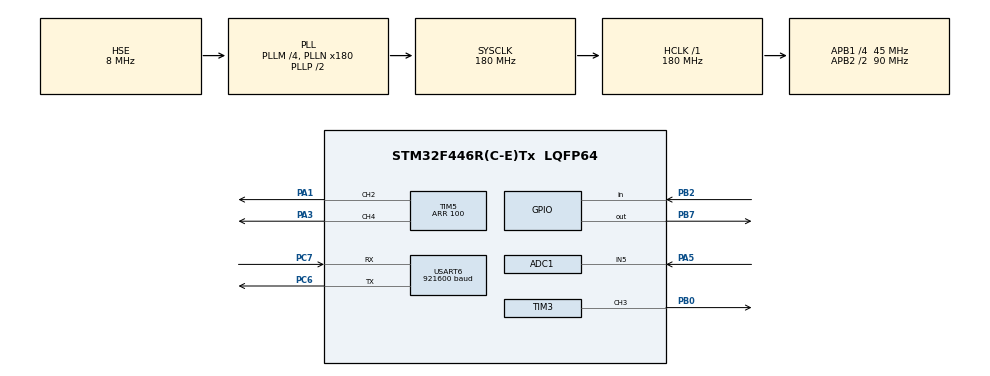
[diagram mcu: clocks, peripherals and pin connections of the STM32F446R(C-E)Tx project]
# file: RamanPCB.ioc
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ADC1.Channel-0\#ChannelRegularConversion=ADC_CHANNEL_5
ADC1.ClockPrescaler=ADC_CLOCK_SYNC_PCLK_DIV4
ADC1.DMAContinuousRequests=ENABLE
ADC1.ExternalTrigConv=ADC_EXTERNALTRIGCONV_T1_CC1
ADC1.NbrOfConversionFlag=1
ADC1.Rank-0\#ChannelRegularConversion=1
ADC1.SamplingTime-0\#ChannelRegularConversion=ADC_SAMPLETIME_28CYCLES
ADC1.master=1
Dma.ADC1.0.Direction=DMA_PERIPH_TO_MEMORY
Dma.ADC1.0.FIFOMode=DMA_FIFOMODE_DISABLE
Dma.ADC1.0.Instance=DMA2_Stream0
Dma.ADC1.0.MemDataAlignment=DMA_MDATAALIGN_HALFWORD
Dma.ADC1.0.MemInc=DMA_MINC_ENABLE
Dma.ADC1.0.Mode=DMA_NORMAL
Dma.ADC1.0.PeriphDataAlignment=DMA_PDATAALIGN_HALFWORD
Dma.ADC1.0.PeriphInc=DMA_PINC_DISABLE
Dma.ADC1.0.Priority=DMA_PRIORITY_LOW
Dma.Request0=ADC1
Dma.Request1=TIM5_CH2
Dma.Request2=USART6_RX
Dma.Request3=USART6_TX
Dma.TIM5_CH2.1.Direction=DMA_MEMORY_TO_PERIPH
Dma.TIM5_CH2.1.FIFOMode=DMA_FIFOMODE_DISABLE
Dma.TIM5_CH2.1.Instance=DMA1_Stream4
Dma.TIM5_CH2.1.MemDataAlignment=DMA_MDATAALIGN_WORD
Dma.TIM5_CH2.1.MemInc=DMA_MINC_ENABLE
Dma.TIM5_CH2.1.Mode=DMA_CIRCULAR
Dma.TIM5_CH2.1.PeriphDataAlignment=DMA_PDATAALIGN_WORD
Dma.TIM5_CH2.1.PeriphInc=DMA_PINC_DISABLE
Dma.TIM5_CH2.1.Priority=DMA_PRIORITY_HIGH
Dma.USART6_RX.2.Direction=DMA_PERIPH_TO_MEMORY
Dma.USART6_RX.2.FIFOMode=DMA_FIFOMODE_DISABLE
Dma.USART6_RX.2.Instance=DMA2_Stream1
Dma.USART6_RX.2.MemDataAlignment=DMA_MDATAALIGN_BYTE
Dma.USART6_RX.2.MemInc=DMA_MINC_ENABLE
Dma.USART6_RX.2.Mode=DMA_NORMAL
Dma.USART6_RX.2.PeriphDataAlignment=DMA_PDATAALIGN_BYTE
Dma.USART6_RX.2.PeriphInc=DMA_PINC_DISABLE
Dma.USART6_RX.2.Priority=DMA_PRIORITY_MEDIUM
Dma.USART6_TX.3.Direction=DMA_MEMORY_TO_PERIPH
Dma.USART6_TX.3.FIFOMode=DMA_FIFOMODE_DISABLE
Dma.USART6_TX.3.Instance=DMA2_Stream6
Dma.USART6_TX.3.MemDataAlignment=DMA_MDATAALIGN_BYTE
Dma.USART6_TX.3.MemInc=DMA_MINC_ENABLE
Dma.USART6_TX.3.Mode=DMA_NORMAL
Dma.USART6_TX.3.PeriphDataAlignment=DMA_PDATAALIGN_BYTE
Dma.USART6_TX.3.PeriphInc=DMA_PINC_DISABLE
Dma.USART6_TX.3.Priority=DMA_PRIORITY_MEDIUM
Mcu.Family=STM32F4
Mcu.Name=STM32F446R(C-E)Tx
Mcu.Package=LQFP64
NVIC.ADC_IRQn=true\:0\:0\:false\:false\:true\:true\:true\:true
NVIC.DMA1_Stream4_IRQn=true\:0\:0\:false\:false\:true\:false\:true\:true
NVIC.DMA2_Stream0_IRQn=true\:0\:0\:false\:false\:true\:false\:true\:true
NVIC.DMA2_Stream1_IRQn=true\:0\:0\:false\:false\:true\:false\:true\:true
NVIC.DMA2_Stream6_IRQn=true\:0\:0\:false\:false\:true\:false\:true\:true
NVIC.PriorityGroup=NVIC_PRIORITYGROUP_4
NVIC.TIM3_IRQn=true\:0\:0\:false\:false\:true\:true\:true\:true
NVIC.TIM5_IRQn=true\:0\:0\:false\:false\:true\:true\:true\:true
NVIC.USART6_IRQn=true\:0\:0\:false\:false\:true\:true\:true\:true
PA0-WKUP.Mode=SYS_WakeUp0
PA0-WKUP.Signal=SYS_WKUP0
PA1.Signal=S_TIM5_CH2
PA13.Mode=Serial_Wire
PA13.Signal=SYS_JTMS-SWDIO
PA14.Mode=Serial_Wire
PA14.Signal=SYS_JTCK-SWCLK
PA3.Signal=S_TIM5_CH4
PA5.Signal=ADCx_IN5
PB0.Signal=S_TIM3_CH3
PB2.Signal=GPIO_Input
PB3.Signal=SYS_JTDO-SWO
PB7.Signal=GPIO_Output
PC6.Mode=Asynchronous
PC6.Signal=USART6_TX
PC7.Mode=Asynchronous
PC7.Signal=USART6_RX
PH0-OSC_IN.Mode=HSE-External-Oscillator
PH0-OSC_IN.Signal=RCC_OSC_IN
PH1-OSC_OUT.Mode=HSE-External-Oscillator
PH1-OSC_OUT.Signal=RCC_OSC_OUT
ProjectManager.HeapSize=0x200
ProjectManager.StackSize=0x400
ProjectManager.TargetToolchain=STM32CubeIDE
RCC.AHBFreq_Value=180000000
RCC.APB1CLKDivider=RCC_HCLK_DIV4
RCC.APB1Freq_Value=45000000
RCC.APB1TimFreq_Value=90000000
RCC.APB2CLKDivider=RCC_HCLK_DIV2
RCC.APB2Freq_Value=90000000
RCC.APB2TimFreq_Value=180000000
RCC.CortexFreq_Value=180000000
RCC.HCLKFreq_Value=180000000
RCC.HSE_VALUE=8000000
RCC.PLLM=4
RCC.PLLN=180
RCC.PLLSourceVirtual=RCC_PLLSOURCE_HSE
RCC.SYSCLKFreq_VALUE=180000000
RCC.SYSCLKSource=RCC_SYSCLKSOURCE_PLLCLK
RCC.USBFreq_Value=180000000
RCC.VCOOutputFreq_Value=360000000
SH.ADCx_IN5.0=ADC1_IN5,IN5
SH.S_TIM3_CH3.0=TIM3_CH3,PWM Generation3 CH3
SH.S_TIM5_CH2.0=TIM5_CH2,Output Compare2 CH2
SH.S_TIM5_CH4.0=TIM5_CH4,PWM Generation4 CH4
TIM1.Channel-PWM\ Generation1\ No\ Output=TIM_CHANNEL_1
TIM1.Period=3
TIM1.Prescaler=89
TIM1.Pulse-PWM\ Generation1\ No\ Output=3
TIM3.Channel-PWM\ Generation3\ CH3=TIM_CHANNEL_3
TIM3.Period=44
TIM3.Pulse-PWM\ Generation3\ CH3=22
TIM3.TIM_MasterOutputTrigger=TIM_TRGO_UPDATE
TIM3.TIM_MasterSlaveMode=TIM_MASTERSLAVEMODE_ENABLE
TIM5.Channel-Output\ Compare2\ CH2=TIM_CHANNEL_2
TIM5.Channel-PWM\ Generation4\ CH4=TIM_CHANNEL_4
TIM5.OC2Preload=DISABLE
TIM5.OCMode_2=TIM_OCMODE_TOGGLE
TIM5.OCMode_PWM-PWM\ Generation4\ CH4=TIM_OCMODE_PWM2
TIM5.Period=100
TIM5.Pulse-Output\ Compare2\ CH2=2
TIM5.Pulse-PWM\ Generation4\ CH4=13
TIM5.TIM_MasterOutputTrigger=TIM_TRGO_OC4REF
TIM5.TIM_MasterSlaveMode=TIM_MASTERSLAVEMODE_ENABLE
USART6.BaudRate=921600
USART6.VirtualMode=VM_ASYNC
VP_TIM1_VS_ClockSourceITR.Mode=TriggerSource_ITR0
VP_TIM1_VS_ControllerModeTrigger.Mode=Trigger Mode
VP_TIM1_VS_no_output1.Mode=PWM Generation1 No Output
VP_TIM3_VS_ClockSourceINT.Mode=Internal
VP_TIM5_VS_ClockSourceITR.Mode=TriggerSource_ITR1
VP_TIM5_VS_ControllerModeClock.Mode=Clock Mode
board=custom

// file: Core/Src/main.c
/* USER CODE BEGIN Header */
/**
  ******************************************************************************
  * @file           : main.c
  * @brief          : Main program body
  ******************************************************************************
  * @attention
  *
  * Copyright (c) 2026 STMicroelectronics.
  * All rights reserved.
  *
  * This software is licensed under terms that can be found in the LICENSE file
  * in the root directory of this software component.
  * If no LICENSE file comes with this software, it is provided AS-IS.
  *
  ******************************************************************************
  */
/* USER CODE END Header */
#include "main.h"

/* USER CODE BEGIN Includes */
#include "tcd_signals.h"
#include "tcd_uart.h"

/* USER CODE END Includes */

ADC_HandleTypeDef hadc1;
DMA_HandleTypeDef hdma_adc1;

TIM_HandleTypeDef htim1;
TIM_HandleTypeDef htim3;
TIM_HandleTypeDef htim5;
DMA_HandleTypeDef hdma_tim5_ch2;

UART_HandleTypeDef huart6;
DMA_HandleTypeDef hdma_usart6_rx;
DMA_HandleTypeDef hdma_usart6_tx;

/* USER CODE BEGIN PV */

extern volatile uint8_t send_now;
//volatile uint8_t is_flushing = 1;
extern volatile uint8_t process_instruction_flag;

extern volatile uint16_t rx_cmd_buffer[SIZE_RX_BUFFER_CMD_BYTES/2];
extern volatile uint8_t uart_busy;

/* USER CODE END PV */

void SystemClock_Config(void);
static void MX_GPIO_Init(void);
static void MX_DMA_Init(void);
static void MX_ADC1_Init(void);
static void MX_TIM1_Init(void);
static void MX_TIM3_Init(void);
static void MX_TIM5_Init(void);
static void MX_USART6_UART_Init(void);

int main(void)
{

  /* MCU Configuration--------------------------------------------------------*/

  /* Reset of all peripherals, Initializes the Flash interface and the Systick. */
  HAL_Init();

  /* Configure the system clock */
  SystemClock_Config();

  /* Initialize all configured peripherals */
  MX_GPIO_Init();
  MX_DMA_Init();
  MX_ADC1_Init();
  MX_TIM1_Init();
  MX_TIM3_Init();
  MX_TIM5_Init();
  MX_USART6_UART_Init();
  /* USER CODE BEGIN 2 */
  //uint32_t ultimo_blink = 0;

  HAL_GPIO_WritePin(GPIOB, GPIO_PIN_7, GPIO_PIN_SET);

  calculate_times(100);
  build_SH_table();
  start_timers(1);

  //HAL_UART_Receive_DMA(&huart6, (uint8_t*) rx_cmd_buffer, SIZE_RX_BUFFER_CMD_BYTES);
  HAL_UART_Receive_IT(&huart6, (uint8_t*)rx_cmd_buffer, SIZE_RX_BUFFER_CMD_BYTES);

  //HAL_Delay(100);
  //is_flushing = 0;
  /* USER CODE END 2 */

  /* Infinite loop */
  /* USER CODE BEGIN WHILE */
  while (1)
  {
	  /*
	  if (HAL_GetTick() - ultimo_blink >= 1000) {
		  HAL_GPIO_TogglePin(GPIOB, GPIO_PIN_7);
		  ultimo_blink = HAL_GetTick();
	  }
	  */

	  if(process_instruction_flag == 1){
		  HAL_ADC_Stop_DMA(&hadc1);
		  while(uart_busy == 1){
			  HAL_Delay(100);
		  }

		  process_instruction();
	  }

	  if (send_now == 1) {
		  send_data_continuous_dma();
	  }
    /* USER CODE END WHILE */

  }
}

void SystemClock_Config(void)
{
  RCC_OscInitTypeDef RCC_OscInitStruct = {0};
  RCC_ClkInitTypeDef RCC_ClkInitStruct = {0};

  /** Configure the main internal regulator output voltage
  */
  __HAL_RCC_PWR_CLK_ENABLE();
  __HAL_PWR_VOLTAGESCALING_CONFIG(PWR_REGULATOR_VOLTAGE_SCALE1);

  /** Initializes the RCC Oscillators according to the specified parameters
  * in the RCC_OscInitTypeDef structure.
  */
  RCC_OscInitStruct.OscillatorType = RCC_OSCILLATORTYPE_HSE;
  RCC_OscInitStruct.HSEState = RCC_HSE_ON;
  RCC_OscInitStruct.PLL.PLLState = RCC_PLL_ON;
  RCC_OscInitStruct.PLL.PLLSource = RCC_PLLSOURCE_HSE;
  RCC_OscInitStruct.PLL.PLLM = 4;
  RCC_OscInitStruct.PLL.PLLN = 180;
  RCC_OscInitStruct.PLL.PLLP = RCC_PLLP_DIV2;
  RCC_OscInitStruct.PLL.PLLQ = 2;
  RCC_OscInitStruct.PLL.PLLR = 2;
  if (HAL_RCC_OscConfig(&RCC_OscInitStruct) != HAL_OK)
  {
    Error_Handler();
  }

  /** Activate the Over-Drive mode
  */
  if (HAL_PWREx_EnableOverDrive() != HAL_OK)
  {
    Error_Handler();
  }

  /** Initializes the CPU, AHB and APB buses clocks
  */
  RCC_ClkInitStruct.ClockType = RCC_CLOCKTYPE_HCLK|RCC_CLOCKTYPE_SYSCLK
                              |RCC_CLOCKTYPE_PCLK1|RCC_CLOCKTYPE_PCLK2;
  RCC_ClkInitStruct.SYSCLKSource = RCC_SYSCLKSOURCE_PLLCLK;
  RCC_ClkInitStruct.AHBCLKDivider = RCC_SYSCLK_DIV1;
  RCC_ClkInitStruct.APB1CLKDivider = RCC_HCLK_DIV4;
  RCC_ClkInitStruct.APB2CLKDivider = RCC_HCLK_DIV2;

  if (HAL_RCC_ClockConfig(&RCC_ClkInitStruct, FLASH_LATENCY_5) != HAL_OK)
  {
    Error_Handler();
  }
}

static void MX_ADC1_Init(void)
{

  ADC_ChannelConfTypeDef sConfig = {0};

  /** Configure the global features of the ADC (Clock, Resolution, Data Alignment and number of conversion)
  */
  hadc1.Instance = ADC1;
  hadc1.Init.ClockPrescaler = ADC_CLOCK_SYNC_PCLK_DIV4;
  hadc1.Init.Resolution = ADC_RESOLUTION_12B;
  hadc1.Init.ScanConvMode = DISABLE;
  hadc1.Init.ContinuousConvMode = DISABLE;
  hadc1.Init.DiscontinuousConvMode = DISABLE;
  hadc1.Init.ExternalTrigConvEdge = ADC_EXTERNALTRIGCONVEDGE_RISING;
  hadc1.Init.ExternalTrigConv = ADC_EXTERNALTRIGCONV_T1_CC1;
  hadc1.Init.DataAlign = ADC_DATAALIGN_RIGHT;
  hadc1.Init.NbrOfConversion = 1;
  hadc1.Init.DMAContinuousRequests = ENABLE;
  hadc1.Init.EOCSelection = ADC_EOC_SINGLE_CONV;
  if (HAL_ADC_Init(&hadc1) != HAL_OK)
  {
    Error_Handler();
  }

  /** Configure for the selected ADC regular channel its corresponding rank in the sequencer and its sample time.
  */
  sConfig.Channel = ADC_CHANNEL_5;
  sConfig.Rank = 1;
  sConfig.SamplingTime = ADC_SAMPLETIME_28CYCLES;
  if (HAL_ADC_ConfigChannel(&hadc1, &sConfig) != HAL_OK)
  {
    Error_Handler();
  }

}

static void MX_TIM1_Init(void)
{

  TIM_SlaveConfigTypeDef sSlaveConfig = {0};
  TIM_MasterConfigTypeDef sMasterConfig = {0};
  TIM_OC_InitTypeDef sConfigOC = {0};
  TIM_BreakDeadTimeConfigTypeDef sBreakDeadTimeConfig = {0};

  htim1.Instance = TIM1;
  htim1.Init.Prescaler = 89;
  htim1.Init.CounterMode = TIM_COUNTERMODE_UP;
  htim1.Init.Period = 3;
  htim1.Init.ClockDivision = TIM_CLOCKDIVISION_DIV1;
  htim1.Init.RepetitionCounter = 0;
  htim1.Init.AutoReloadPreload = TIM_AUTORELOAD_PRELOAD_DISABLE;
  if (HAL_TIM_Base_Init(&htim1) != HAL_OK)
  {
    Error_Handler();
  }
  if (HAL_TIM_PWM_Init(&htim1) != HAL_OK)
  {
    Error_Handler();
  }
  sSlaveConfig.SlaveMode = TIM_SLAVEMODE_TRIGGER;
  sSlaveConfig.InputTrigger = TIM_TS_ITR0;
  if (HAL_TIM_SlaveConfigSynchro(&htim1, &sSlaveConfig) != HAL_OK)
  {
    Error_Handler();
  }
  sMasterConfig.MasterOutputTrigger = TIM_TRGO_RESET;
  sMasterConfig.MasterSlaveMode = TIM_MASTERSLAVEMODE_DISABLE;
  if (HAL_TIMEx_MasterConfigSynchronization(&htim1, &sMasterConfig) != HAL_OK)
  {
    Error_Handler();
  }
  sConfigOC.OCMode = TIM_OCMODE_PWM1;
  sConfigOC.Pulse = 3;
  sConfigOC.OCPolarity = TIM_OCPOLARITY_HIGH;
  sConfigOC.OCNPolarity = TIM_OCNPOLARITY_HIGH;
  sConfigOC.OCFastMode = TIM_OCFAST_DISABLE;
  sConfigOC.OCIdleState = TIM_OCIDLESTATE_RESET;
  sConfigOC.OCNIdleState = TIM_OCNIDLESTATE_RESET;
  if (HAL_TIM_PWM_ConfigChannel(&htim1, &sConfigOC, TIM_CHANNEL_1) != HAL_OK)
  {
    Error_Handler();
  }
  sBreakDeadTimeConfig.OffStateRunMode = TIM_OSSR_DISABLE;
  sBreakDeadTimeConfig.OffStateIDLEMode = TIM_OSSI_DISABLE;
  sBreakDeadTimeConfig.LockLevel = TIM_LOCKLEVEL_OFF;
  sBreakDeadTimeConfig.DeadTime = 0;
  sBreakDeadTimeConfig.BreakState = TIM_BREAK_DISABLE;
  sBreakDeadTimeConfig.BreakPolarity = TIM_BREAKPOLARITY_HIGH;
  sBreakDeadTimeConfig.AutomaticOutput = TIM_AUTOMATICOUTPUT_DISABLE;
  if (HAL_TIMEx_ConfigBreakDeadTime(&htim1, &sBreakDeadTimeConfig) != HAL_OK)
  {
    Error_Handler();
  }

}

static void MX_TIM3_Init(void)
{

  TIM_ClockConfigTypeDef sClockSourceConfig = {0};
  TIM_MasterConfigTypeDef sMasterConfig = {0};
  TIM_OC_InitTypeDef sConfigOC = {0};

  htim3.Instance = TIM3;
  htim3.Init.Prescaler = 0;
  htim3.Init.CounterMode = TIM_COUNTERMODE_UP;
  htim3.Init.Period = 44;
  htim3.Init.ClockDivision = TIM_CLOCKDIVISION_DIV1;
  htim3.Init.AutoReloadPreload = TIM_AUTORELOAD_PRELOAD_DISABLE;
  if (HAL_TIM_Base_Init(&htim3) != HAL_OK)
  {
    Error_Handler();
  }
  sClockSourceConfig.ClockSource = TIM_CLOCKSOURCE_INTERNAL;
  if (HAL_TIM_ConfigClockSource(&htim3, &sClockSourceConfig) != HAL_OK)
  {
    Error_Handler();
  }
  if (HAL_TIM_PWM_Init(&htim3) != HAL_OK)
  {
    Error_Handler();
  }
  sMasterConfig.MasterOutputTrigger = TIM_TRGO_UPDATE;
  sMasterConfig.MasterSlaveMode = TIM_MASTERSLAVEMODE_ENABLE;
  if (HAL_TIMEx_MasterConfigSynchronization(&htim3, &sMasterConfig) != HAL_OK)
  {
    Error_Handler();
  }
  sConfigOC.OCMode = TIM_OCMODE_PWM1;
  sConfigOC.Pulse = 22;
  sConfigOC.OCPolarity = TIM_OCPOLARITY_HIGH;
  sConfigOC.OCFastMode = TIM_OCFAST_DISABLE;
  if (HAL_TIM_PWM_ConfigChannel(&htim3, &sConfigOC, TIM_CHANNEL_3) != HAL_OK)
  {
    Error_Handler();
  }
  HAL_TIM_MspPostInit(&htim3);

}

static void MX_TIM5_Init(void)
{

  TIM_SlaveConfigTypeDef sSlaveConfig = {0};
  TIM_MasterConfigTypeDef sMasterConfig = {0};
  TIM_OC_InitTypeDef sConfigOC = {0};

  htim5.Instance = TIM5;
  htim5.Init.Prescaler = 0;
  htim5.Init.CounterMode = TIM_COUNTERMODE_UP;
  htim5.Init.Period = 100;
  htim5.Init.ClockDivision = TIM_CLOCKDIVISION_DIV1;
  htim5.Init.AutoReloadPreload = TIM_AUTORELOAD_PRELOAD_DISABLE;
  if (HAL_TIM_Base_Init(&htim5) != HAL_OK)
  {
    Error_Handler();
  }
  if (HAL_TIM_OC_Init(&htim5) != HAL_OK)
  {
    Error_Handler();
  }
  if (HAL_TIM_PWM_Init(&htim5) != HAL_OK)
  {
    Error_Handler();
  }
  sSlaveConfig.SlaveMode = TIM_SLAVEMODE_EXTERNAL1;
  sSlaveConfig.InputTrigger = TIM_TS_ITR1;
  if (HAL_TIM_SlaveConfigSynchro(&htim5, &sSlaveConfig) != HAL_OK)
  {
    Error_Handler();
  }
  sMasterConfig.MasterOutputTrigger = TIM_TRGO_OC4REF;
  sMasterConfig.MasterSlaveMode = TIM_MASTERSLAVEMODE_ENABLE;
  if (HAL_TIMEx_MasterConfigSynchronization(&htim5, &sMasterConfig) != HAL_OK)
  {
    Error_Handler();
  }
  sConfigOC.OCMode = TIM_OCMODE_TOGGLE;
  sConfigOC.Pulse = 2;
  sConfigOC.OCPolarity = TIM_OCPOLARITY_HIGH;
  sConfigOC.OCFastMode = TIM_OCFAST_DISABLE;
  if (HAL_TIM_OC_ConfigChannel(&htim5, &sConfigOC, TIM_CHANNEL_2) != HAL_OK)
  {
    Error_Handler();
  }
  sConfigOC.OCMode = TIM_OCMODE_PWM2;
  sConfigOC.Pulse = 13;
  if (HAL_TIM_PWM_ConfigChannel(&htim5, &sConfigOC, TIM_CHANNEL_4) != HAL_OK)
  {
    Error_Handler();
  }
  HAL_TIM_MspPostInit(&htim5);

}

static void MX_USART6_UART_Init(void)
{

  huart6.Instance = USART6;
  huart6.Init.BaudRate = 921600;
  huart6.Init.WordLength = UART_WORDLENGTH_8B;
  huart6.Init.StopBits = UART_STOPBITS_1;
  huart6.Init.Parity = UART_PARITY_NONE;
  huart6.Init.Mode = UART_MODE_TX_RX;
  huart6.Init.HwFlowCtl = UART_HWCONTROL_NONE;
  huart6.Init.OverSampling = UART_OVERSAMPLING_16;
  if (HAL_UART_Init(&huart6) != HAL_OK)
  {
    Error_Handler();
  }

}

static void MX_DMA_Init(void)
{

  /* DMA controller clock enable */
  __HAL_RCC_DMA2_CLK_ENABLE();
  __HAL_RCC_DMA1_CLK_ENABLE();

  /* DMA interrupt init */
  /* DMA1_Stream4_IRQn interrupt configuration */
  HAL_NVIC_SetPriority(DMA1_Stream4_IRQn, 0, 0);
  HAL_NVIC_EnableIRQ(DMA1_Stream4_IRQn);
  /* DMA2_Stream0_IRQn interrupt configuration */
  HAL_NVIC_SetPriority(DMA2_Stream0_IRQn, 0, 0);
  HAL_NVIC_EnableIRQ(DMA2_Stream0_IRQn);
  /* DMA2_Stream1_IRQn interrupt configuration */
  HAL_NVIC_SetPriority(DMA2_Stream1_IRQn, 0, 0);
  HAL_NVIC_EnableIRQ(DMA2_Stream1_IRQn);
  /* DMA2_Stream6_IRQn interrupt configuration */
  HAL_NVIC_SetPriority(DMA2_Stream6_IRQn, 0, 0);
  HAL_NVIC_EnableIRQ(DMA2_Stream6_IRQn);

}

static void MX_GPIO_Init(void)
{
  GPIO_InitTypeDef GPIO_InitStruct = {0};

  /* GPIO Ports Clock Enable */
  __HAL_RCC_GPIOH_CLK_ENABLE();
  __HAL_RCC_GPIOA_CLK_ENABLE();
  __HAL_RCC_GPIOB_CLK_ENABLE();
  __HAL_RCC_GPIOC_CLK_ENABLE();

  /*Configure GPIO pin Output Level */
  HAL_GPIO_WritePin(GPIOB, GPIO_PIN_7, GPIO_PIN_RESET);

  /*Configure GPIO pin : PB2 */
  GPIO_InitStruct.Pin = GPIO_PIN_2;
  GPIO_InitStruct.Mode = GPIO_MODE_INPUT;
  GPIO_InitStruct.Pull = GPIO_NOPULL;
  HAL_GPIO_Init(GPIOB, &GPIO_InitStruct);

  /*Configure GPIO pin : PB7 */
  GPIO_InitStruct.Pin = GPIO_PIN_7;
  GPIO_InitStruct.Mode = GPIO_MODE_OUTPUT_PP;
  GPIO_InitStruct.Pull = GPIO_NOPULL;
  GPIO_InitStruct.Speed = GPIO_SPEED_FREQ_LOW;
  HAL_GPIO_Init(GPIOB, &GPIO_InitStruct);

}

void Error_Handler(void)
{
  __disable_irq();
  while (1)
  {
  }
}
